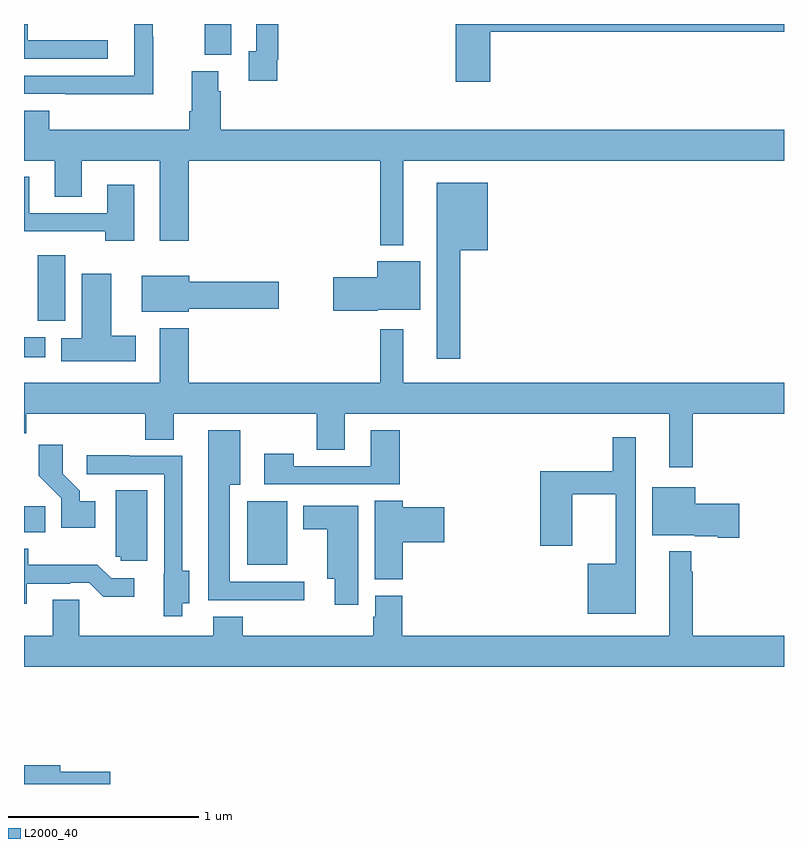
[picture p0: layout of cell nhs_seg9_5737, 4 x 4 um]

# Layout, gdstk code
import gdstk
lib = gdstk.Library(unit=1e-6, precision=1e-09)
def R(c, l, rs):  # rectangles x0, y0, x1, y1
    for r in rs: c.add(gdstk.rectangle(r[:2], r[2:], *l))
def P(c, l, *ps):  # polygons
    for p in ps: c.add(gdstk.Polygon(p, *l))
L2000_40 = (2000, 40)

nhs_seg9_5737 = lib.new_cell('nhs_seg9_5737')
R(nhs_seg9_5737, L2000_40, [(446.174,1167.653,446.386,1167.988), (445,1167.824,445.112,1167.962), (445,1168.745,445.111,1168.852), (445.073,1168.937,445.216,1169.284), (445.952,1170.337,446.092,1170.5)])
P(nhs_seg9_5737, L2000_40, [(445.679,1170.434),(445.677,1170.434),(445.677,1170.5),(445.581,1170.5),(445.581,1170.228),(445,1170.228),(445,1170.132),(445.216,1170.132),(445.216,1170.131),(445.679,1170.131)],
  [(447.455,1170.46),(449,1170.46),(449,1170.5),(447.272,1170.5),(447.272,1170.195),(447.455,1170.195)],
  [(446.332,1170.313),(446.339,1170.313),(446.339,1170.5),(446.223,1170.5),(446.223,1170.357),(446.183,1170.357),(446.183,1170.201),(446.332,1170.201)],
  [(445.441,1170.414),(445.02,1170.414),(445.02,1170.5),(445,1170.5),(445,1170.318),(445.441,1170.318)],
  [(446.995,1169.78),(449,1169.78),(449,1169.944),(446.036,1169.944),(446.036,1170.146),(446.023,1170.146),(446.023,1170.252),(445.883,1170.252),(445.883,1170.04),(445.871,1170.04),(445.871,1169.944),(445.133,1169.944),(445.133,1170.043),(445,1170.043),(445,1169.78),(445.163,1169.78),(445.163,1169.59),(445.303,1169.59),(445.303,1169.78),(445.715,1169.78),(445.715,1169.358),(445.868,1169.358),(445.868,1169.78),(446.874,1169.78),(446.874,1169.336),(446.995,1169.336)],
  [(445.579,1169.653),(445.439,1169.653),(445.439,1169.505),(445.027,1169.505),(445.027,1169.695),(445,1169.695),(445,1169.409),(445.427,1169.409),(445.427,1169.358),(445.579,1169.358)],
  [(447.295,1169.309),(447.442,1169.309),(447.442,1169.665),(447.173,1169.665),(447.173,1168.737),(447.295,1168.737)],
  [(446.862,1168.997),(447.085,1168.997),(447.085,1169.251),(446.858,1169.251),(446.858,1169.168),(446.628,1169.168),(446.628,1168.99),(446.862,1168.99)],
  [(445.588,1168.859),(445.459,1168.859),(445.459,1169.185),(445.304,1169.185),(445.304,1168.846),(445.196,1168.846),(445.196,1168.724),(445.588,1168.724)],
  [(445.866,1169.002),(446.341,1169.002),(446.341,1169.144),(445.87,1169.144),(445.87,1169.176),(445.619,1169.176),(445.619,1168.985),(445.866,1168.985)],
  [(448.519,1168.448),(449,1168.448),(449,1168.612),(446.995,1168.612),(446.995,1168.894),(446.874,1168.894),(446.874,1168.612),(445.868,1168.612),(445.868,1168.9),(445.715,1168.9),(445.715,1168.612),(445,1168.612),(445,1168.347),(445.013,1168.347),(445.013,1168.448),(445.637,1168.448),(445.637,1168.312),(445.789,1168.312),(445.789,1168.448),(446.542,1168.448),(446.542,1168.258),(446.689,1168.258),(446.689,1168.448),(448.397,1168.448),(448.397,1168.167),(448.519,1168.167)],
  [(446.978,1168.363),(446.825,1168.363),(446.825,1168.173),(446.421,1168.173),(446.421,1168.237),(446.265,1168.237),(446.265,1168.077),(446.978,1168.077)],
  [(446.476,1167.564),(446.083,1167.564),(446.083,1168.076),(446.137,1168.076),(446.137,1168.363),(445.97,1168.363),(445.97,1167.467),(446.476,1167.467)],
  [(448.219,1168.324),(448.098,1168.324),(448.098,1168.147),(447.716,1168.147),(447.716,1167.753),(447.886,1167.753),(447.886,1168.026),(448.115,1168.026),(448.115,1167.658),(447.968,1167.658),(447.968,1167.395),(448.219,1167.395)],
  [(445.375,1167.988),(445.294,1167.988),(445.294,1168.043),(445.204,1168.133),(445.204,1168.285),(445.078,1168.285),(445.078,1168.122),(445.197,1168.003),(445.197,1167.848),(445.375,1167.848)],
  [(445.834,1167.452),(445.87,1167.452),(445.87,1167.623),(445.834,1167.623),(445.834,1168.227),(445.553,1168.227),(445.553,1168.23),(445.329,1168.23),(445.329,1168.131),(445.737,1168.131),(445.737,1167.606),(445.736,1167.606),(445.736,1167.384),(445.834,1167.384)],
  [(448.765,1167.975),(448.534,1167.975),(448.534,1168.063),(448.307,1168.063),(448.307,1167.809),(448.53,1167.809),(448.53,1167.803),(448.652,1167.803),(448.652,1167.797),(448.765,1167.797)],
  [(445.648,1168.045),(445.484,1168.045),(445.484,1167.696),(445.509,1167.696),(445.509,1167.675),(445.648,1167.675)],
  [(446.993,1167.773),(447.211,1167.773),(447.211,1167.956),(446.993,1167.956),(446.993,1167.992),(446.846,1167.992),(446.846,1167.577),(446.993,1167.577)],
  [(446.758,1167.964),(446.471,1167.964),(446.471,1167.842),(446.597,1167.842),(446.597,1167.581),(446.636,1167.581),(446.636,1167.444),(446.758,1167.444)],
  [(445.015,1167.555),(445.244,1167.555),(445.244,1167.558),(445.344,1167.558),(445.417,1167.485),(445.579,1167.485),(445.579,1167.582),(445.458,1167.582),(445.385,1167.655),(445.023,1167.655),(445.023,1167.739),(445,1167.739),(445,1167.45),(445.015,1167.45)],
  [(449,1167.28),(448.519,1167.28),(448.519,1167.617),(448.511,1167.617),(448.511,1167.724),(448.397,1167.724),(448.397,1167.28),(446.99,1167.28),(446.99,1167.492),(446.849,1167.492),(446.849,1167.381),(446.837,1167.381),(446.837,1167.28),(446.15,1167.28),(446.15,1167.379),(445.997,1167.379),(445.997,1167.28),(445.29,1167.28),(445.29,1167.47),(445.151,1167.47),(445.151,1167.28),(445,1167.28),(445,1167.116),(449,1167.116)],
  [(445.453,1166.564),(445.192,1166.564),(445.192,1166.6),(445,1166.6),(445,1166.5),(445.453,1166.5)])

lib.write_gds('nhs_seg9_5737.gds')
